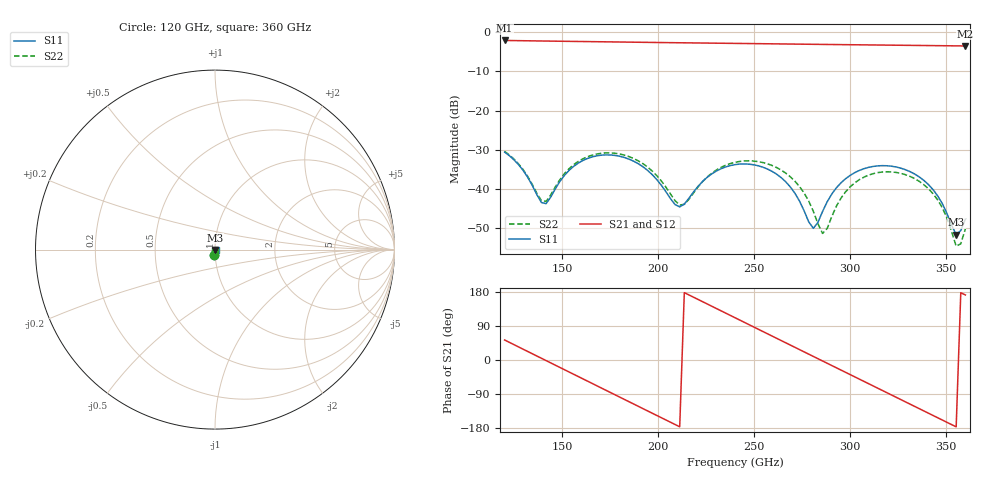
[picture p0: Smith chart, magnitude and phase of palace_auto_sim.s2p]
#  GHZ S DB R 50
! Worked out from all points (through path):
!   101 points, 120 GHz to 360 GHz, reference 50 ohm
!   highest |S21| = -2.11 dB at 120 GHz (marker M1); lowest = -3.5 dB at 360 GHz (marker M2)
!   group delay of S21, straight-line fit = 6.96 ps
!   lowest |S11| = -51.6 dB at 355.2 GHz (marker M3), VSWR 1.01, Z = 50 - j0.262 ohm
!   |S11| at or under -10 dB: start of sweep to end of sweep
!   |S22| runs from -54.6 to -30.4 dB; largest |S21 - S12| = 8.7e-14
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120  -30.58 -100.4  -2.11 52.8  -2.11 52.8  -30.40 -100.5
141.6  -43.72 -61.6  -2.26 -1.5  -2.26 -1.5  -43.14 -61.6
151.2  -36.49 -30.7  -2.32 -25.7  -2.32 -25.7  -36.06 -32.0
160.8  -32.71 -43.3  -2.38 -49.8  -2.38 -49.8  -32.28 -44.6
180  -31.65 -81.4  -2.50 -98.0  -2.50 -98.0  -31.07 -82.9
201.6  -39.01 -111.3  -2.64 -152.2  -2.64 -152.2  -37.92 -115.4
208.8  -43.97 -90.3  -2.68 -170.2  -2.68 -170.2  -42.98 -100.4
213.6  -43.83 -57.3  -2.71 177.7  -2.71 177.7  -43.90 -67.5
225.6  -36.98 -42.0  -2.78 147.7  -2.78 147.7  -36.89 -44.8
240  -33.77 -65.7  -2.86 111.6  -2.86 111.6  -33.18 -68.0
252  -34.05 -90.1  -2.92 81.5  -2.92 81.5  -33.00 -93.0
264  -37.07 -113.1  -2.99 51.5  -2.99 51.5  -35.15 -118.1
273.6  -43.07 -121.7  -3.05 27.4  -3.05 27.4  -39.35 -134.9
280.8  -50.03 -76.0  -3.09 9.4  -3.09 9.4  -45.68 -135.1
285.6  -45.73 -34.0  -3.12 -2.6  -3.12 -2.6  -51.32 -95.6
300  -36.51 -42.4  -3.19 -38.5  -3.19 -38.5  -39.44 -46.2
321.6  -34.18 -87.8  -3.31 -92.5  -3.31 -92.5  -35.63 -89.8
343.2  -40.18 -129.4  -3.42 -146.5  -3.42 -146.5  -41.22 -133.4
350.4  -46.23 -129.5  -3.46 -164.5  -3.46 -164.5  -47.38 -137.6
355.2  -51.62 -92.1  -3.49 -176.4  -3.49 -176.4  -54.57 -103.2
357.6  -50.60 -59.6  -3.50 177.6  -3.50 177.6  -53.96 -59.5
360  -47.65 -42.6  -3.51 171.6  -3.51 171.6  -50.15 -38.4
